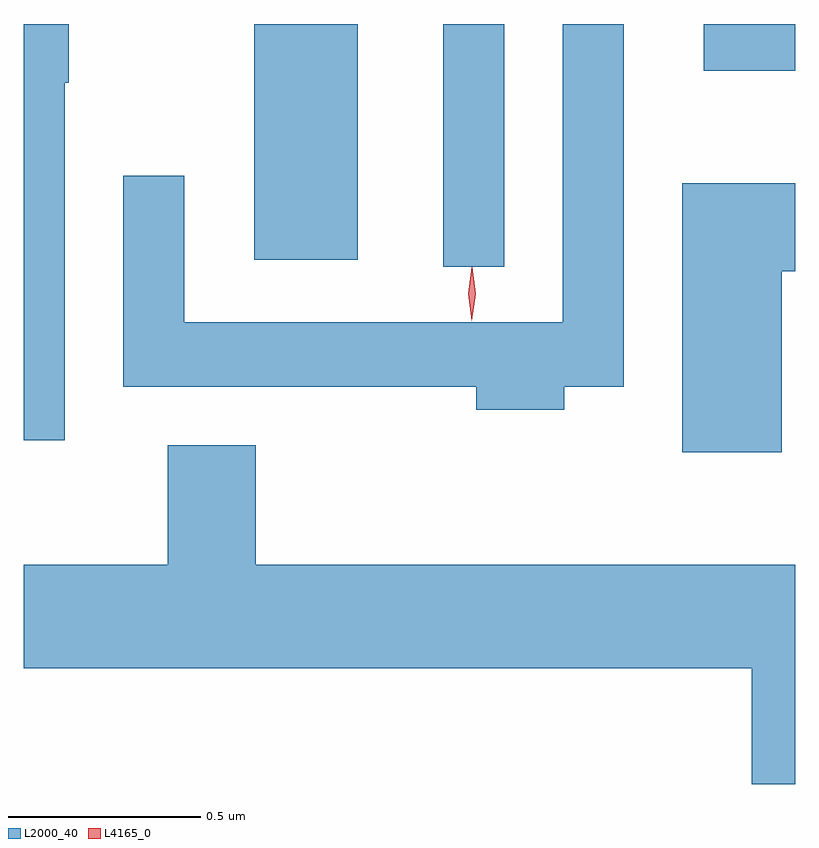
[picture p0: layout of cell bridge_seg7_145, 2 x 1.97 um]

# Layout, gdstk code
import gdstk
lib = gdstk.Library(unit=1e-6, precision=1e-09)
def R(c, l, rs):  # rectangles x0, y0, x1, y1
    for r in rs: c.add(gdstk.rectangle(r[:2], r[2:], *l))
def P(c, l, *ps):  # polygons
    for p in ps: c.add(gdstk.Polygon(p, *l))
L2000_40 = (2000, 40)
L4165_0 = (4165, 0)

bridge_seg7_145 = lib.new_cell('bridge_seg7_145')
R(bridge_seg7_145, L2000_40, [(1473.016,1730.898,1473.174,1731.527), (1472.526,1730.916,1472.794,1731.527), (1473.691,1731.406,1473.928,1731.527)])
P(bridge_seg7_145, L2000_40, [(1473.329,1730.586),(1473.484,1730.586),(1473.484,1731.527),(1473.326,1731.527),(1473.326,1730.754),(1472.344,1730.754),(1472.344,1731.133),(1472.186,1731.133),(1472.186,1730.586),(1473.101,1730.586),(1473.101,1730.526),(1473.329,1730.526)],
  [(1472.034,1731.375),(1472.044,1731.375),(1472.044,1731.527),(1471.928,1731.527),(1471.928,1730.448),(1472.034,1730.448)],
  [(1473.894,1730.886),(1473.928,1730.886),(1473.928,1731.114),(1473.636,1731.114),(1473.636,1730.416),(1473.894,1730.416)],
  [(1473.928,1730.124),(1472.529,1730.124),(1472.529,1730.434),(1472.301,1730.434),(1472.301,1730.124),(1471.928,1730.124),(1471.928,1729.856),(1473.816,1729.856),(1473.816,1729.556),(1473.928,1729.556)])
P(bridge_seg7_145, L4165_0, [(1473.09,1730.757),(1473.089,1730.758),(1473.08,1730.827),(1473.09,1730.896),(1473.091,1730.896),(1473.091,1730.896),(1473.1,1730.827),(1473.09,1730.758)])

lib.write_gds('bridge_seg7_145.gds')
